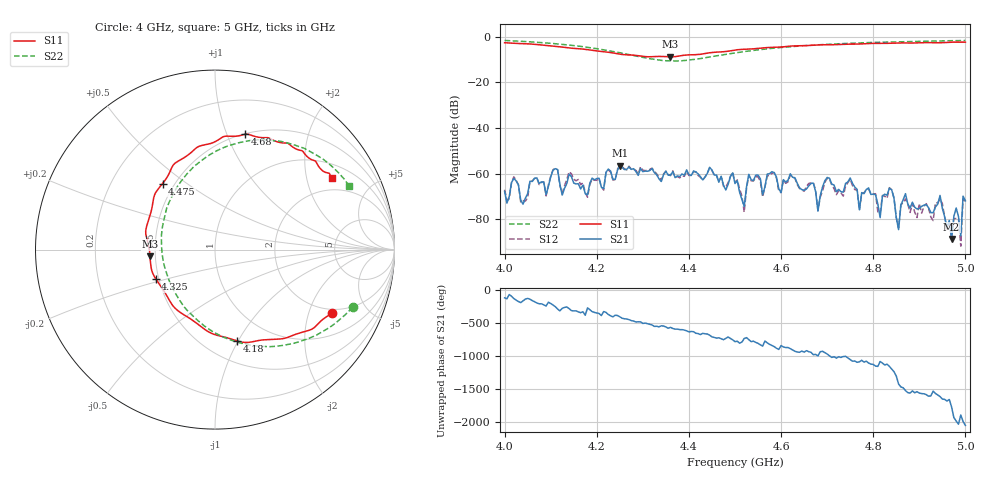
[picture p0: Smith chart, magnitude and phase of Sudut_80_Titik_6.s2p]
# Hz S RI R 50
! CMT, C1220, 16058040, 17.2.0/1
! Date: 15/08/2018 12:09:41
! Data: Format (Calibration Info)
! Freq  S11: Re/Im (F2)  S21: Re/Im (F2)  S12: Re/Im (F2)  S22: Re/Im (F2)
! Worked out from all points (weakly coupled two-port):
!   201 points, 4 GHz to 5 GHz, reference 50 ohm
!   highest |S21| = -56.54 dB at 4.25 GHz (marker M1); lowest = -88.6 dB at 4.97 GHz (marker M2)
!   lowest |S11| = -8.8 dB at 4.36 GHz (marker M3), VSWR 2.14, Z = 23.4 - j1.99 ohm
!   |S11| at or under -10 dB: nowhere
!   |S22| runs from -10.6 to -1.6 dB; largest |S21 - S12| = 0.00015
!   S11 on the Smith chart (normalised r, x): 4 GHz: 1.83, -2.86; 4.18 GHz: 0.71, -0.99; 4.325 GHz: 0.48, -0.18; 4.475 GHz: 0.43, +0.41; 4.68 GHz: 0.51, +1.16; 5 GHz: 1.48, +2.83
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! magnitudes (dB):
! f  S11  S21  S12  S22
! 4 GHz  -2.6  -67.8  -67.0  -1.6
! 4.17 GHz  -5.4  -65.0  -64.0  -4.3
! 4.18 GHz  -5.6  -69.3  -70.3  -4.6
! 4.25 GHz  -7.6  -56.5  -56.3  -7.0
! 4.325 GHz  -8.7  -59.5  -59.0  -9.9
! 4.335 GHz  -8.6  -62.3  -61.6  -10.2
! 4.36 GHz  -8.8  -60.7  -60.8  -10.6
! 4.475 GHz  -6.6  -65.0  -65.5  -7.9
! 4.5 GHz  -5.8  -64.3  -63.8  -7.1
! 4.52 GHz  -5.5  -74.4  -76.8  -6.5
! 4.53 GHz  -5.4  -60.3  -60.6  -6.2
! 4.67 GHz  -3.7  -64.2  -63.8  -3.6
! 4.68 GHz  -3.6  -76.4  -76.2  -3.5
! 4.7 GHz  -3.5  -61.7  -62.1  -3.3
! 4.77 GHz  -3.2  -75.8  -76.1  -2.7
! 4.79 GHz  -3.0  -66.2  -66.7  -2.5
! 4.815 GHz  -2.9  -79.3  -77.4  -2.4
! 4.835 GHz  -2.8  -66.4  -66.1  -2.3
! 4.855 GHz  -2.7  -84.5  -83.8  -2.2
! 4.87 GHz  -2.7  -68.8  -71.1  -2.1
! 4.97 GHz  -2.4  -88.6  -88.2  -1.7
! 5 GHz  -2.4  -71.9  -72.2  -1.6
